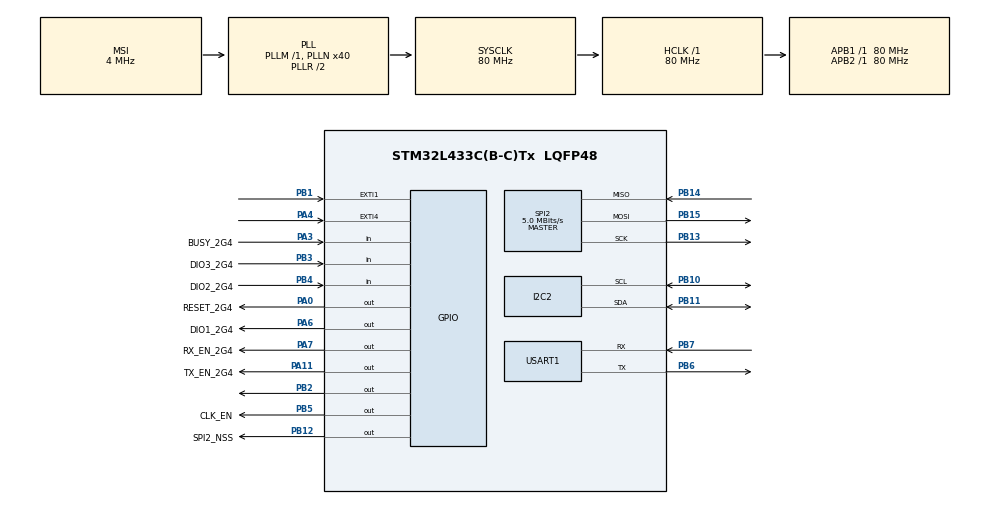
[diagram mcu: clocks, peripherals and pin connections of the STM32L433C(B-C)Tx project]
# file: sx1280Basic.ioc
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Dma.Request0=USART1_RX
Dma.Request1=USART1_TX
Dma.USART1_RX.0.Direction=DMA_PERIPH_TO_MEMORY
Dma.USART1_RX.0.Instance=DMA1_Channel5
Dma.USART1_RX.0.MemDataAlignment=DMA_MDATAALIGN_BYTE
Dma.USART1_RX.0.MemInc=DMA_MINC_ENABLE
Dma.USART1_RX.0.Mode=DMA_NORMAL
Dma.USART1_RX.0.PeriphDataAlignment=DMA_PDATAALIGN_BYTE
Dma.USART1_RX.0.PeriphInc=DMA_PINC_DISABLE
Dma.USART1_RX.0.Priority=DMA_PRIORITY_LOW
Dma.USART1_TX.1.Direction=DMA_MEMORY_TO_PERIPH
Dma.USART1_TX.1.Instance=DMA1_Channel4
Dma.USART1_TX.1.MemDataAlignment=DMA_MDATAALIGN_BYTE
Dma.USART1_TX.1.MemInc=DMA_MINC_ENABLE
Dma.USART1_TX.1.Mode=DMA_NORMAL
Dma.USART1_TX.1.PeriphDataAlignment=DMA_PDATAALIGN_BYTE
Dma.USART1_TX.1.PeriphInc=DMA_PINC_DISABLE
Dma.USART1_TX.1.Priority=DMA_PRIORITY_LOW
FREERTOS.Tasks01=defaultTask,0,128,StartDefaultTask,Default,NULL,Dynamic,NULL,NULL;qma6981,0,256,qma6981_task,Default,NULL,Dynamic,NULL,NULL
Mcu.Family=STM32L4
Mcu.Name=STM32L433C(B-C)Tx
Mcu.Package=LQFP48
NVIC.DMA1_Channel4_IRQn=true\:5\:0\:false\:false\:true\:true\:false\:true
NVIC.DMA1_Channel5_IRQn=true\:5\:0\:false\:false\:true\:true\:false\:true
NVIC.EXTI1_IRQn=true\:5\:0\:false\:false\:true\:true\:true\:true
NVIC.EXTI4_IRQn=true\:5\:0\:false\:false\:true\:true\:true\:true
NVIC.PriorityGroup=NVIC_PRIORITYGROUP_4
NVIC.USART1_IRQn=true\:5\:0\:false\:false\:true\:true\:true\:true
PA0.GPIO_Label=RESET_2G4
PA0.Signal=GPIO_Output
PA11.GPIO_Label=TX_EN_2G4
PA11.Signal=GPIO_Output
PA13\ (JTMS-SWDIO).Mode=Serial_Wire
PA13\ (JTMS-SWDIO).Signal=SYS_JTMS-SWDIO
PA14\ (JTCK-SWCLK).Mode=Serial_Wire
PA14\ (JTCK-SWCLK).Signal=SYS_JTCK-SWCLK
PA3.GPIO_Label=BUSY_2G4
PA3.Signal=GPIO_Input
PA4.GPIO_ModeDefaultEXTI=GPIO_MODE_IT_FALLING
PA4.Signal=GPXTI4
PA6.GPIO_Label=DIO1_2G4
PA6.Signal=GPIO_Output
PA7.GPIO_Label=RX_EN_2G4
PA7.Signal=GPIO_Output
PB1.Signal=GPXTI1
PB10.Mode=I2C
PB10.Signal=I2C2_SCL
PB11.Mode=I2C
PB11.Signal=I2C2_SDA
PB12.GPIO_Label=SPI2_NSS
PB12.Signal=GPIO_Output
PB13.Mode=Full_Duplex_Master
PB13.Signal=SPI2_SCK
PB14.Mode=Full_Duplex_Master
PB14.Signal=SPI2_MISO
PB15.Mode=Full_Duplex_Master
PB15.Signal=SPI2_MOSI
PB2.GPIO_PuPd=GPIO_PULLUP
PB2.Signal=GPIO_Output
PB3\ (JTDO-TRACESWO).GPIO_Label=DIO3_2G4
PB3\ (JTDO-TRACESWO).Signal=GPIO_Input
PB4\ (NJTRST).GPIO_Label=DIO2_2G4
PB4\ (NJTRST).Signal=GPIO_Input
PB5.GPIO_Label=CLK_EN
PB5.Signal=GPIO_Output
PB6.Mode=Asynchronous
PB6.Signal=USART1_TX
PB7.Mode=Asynchronous
PB7.Signal=USART1_RX
PC14-OSC32_IN\ (PC14).Mode=LSE-External-Oscillator
PC14-OSC32_IN\ (PC14).Signal=RCC_OSC32_IN
PC15-OSC32_OUT\ (PC15).Mode=LSE-External-Oscillator
PC15-OSC32_OUT\ (PC15).Signal=RCC_OSC32_OUT
ProjectManager.HeapSize=0x200
ProjectManager.StackSize=0x400
ProjectManager.TargetToolchain=Makefile
RCC.AHBFreq_Value=80000000
RCC.APB1Freq_Value=80000000
RCC.APB1TimFreq_Value=80000000
RCC.APB2Freq_Value=80000000
RCC.APB2TimFreq_Value=80000000
RCC.CortexFreq_Value=80000000
RCC.HCLKFreq_Value=80000000
RCC.HSE_VALUE=8000000
RCC.HSI48_VALUE=48000000
RCC.HSI_VALUE=16000000
RCC.MSI_VALUE=4000000
RCC.PLLN=40
RCC.SYSCLKFreq_VALUE=80000000
RCC.SYSCLKSource=RCC_SYSCLKSOURCE_PLLCLK
RCC.VCOOutputFreq_Value=160000000
SPI2.BaudRatePrescaler=SPI_BAUDRATEPRESCALER_16
SPI2.CalculateBaudRate=5.0 MBits/s
SPI2.DataSize=SPI_DATASIZE_8BIT
SPI2.Direction=SPI_DIRECTION_2LINES
SPI2.Mode=SPI_MODE_MASTER
SPI2.VirtualType=VM_MASTER
USART1.VirtualMode-Asynchronous=VM_ASYNC
VP_FREERTOS_VS_CMSIS_V1.Mode=CMSIS_V1
board=custom

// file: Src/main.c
/* USER CODE BEGIN Header */
/**
  ******************************************************************************
  * @file           : main.c
  * @brief          : Main program body
  ******************************************************************************
  * @attention
  *
  * <h2><center>&copy; Copyright (c) 2020 STMicroelectronics.
  * All rights reserved.</center></h2>
  *
  * This software component is licensed by ST under Ultimate Liberty license
  * SLA0044, the "License"; You may not use this file except in compliance with
  * the License. You may obtain a copy of the License at:
  *                             www.st.com/SLA0044
  *
  ******************************************************************************
  */
/* USER CODE END Header */

#include "main.h"
#include "cmsis_os.h"
#include "dma.h"
#include "i2c.h"
#include "spi.h"
#include "usart.h"
#include "gpio.h"

/* USER CODE BEGIN Includes */
#include "bsp_uart.h"
#include "string.h"
#include "stdio.h"
/* USER CODE END Includes */

/* USER CODE BEGIN PTD */
extern SemaphoreHandle_t  xLoraRecSemaphore;
/* USER CODE END PTD */

void SystemClock_Config(void);
void MX_FREERTOS_Init(void);

int main(void)
{

  /* MCU Configuration--------------------------------------------------------*/

  /* Reset of all peripherals, Initializes the Flash interface and the Systick. */
  HAL_Init();

  /* Configure the system clock */
  SystemClock_Config();

  /* USER CODE BEGIN SysInit */
  xLoraRecSemaphore = xSemaphoreCreateBinary();
    uart_queue_init();
  /* USER CODE END SysInit */

  /* Initialize all configured peripherals */
  MX_GPIO_Init();
  MX_DMA_Init();
  MX_USART1_UART_Init();
  MX_I2C2_Init();
  MX_SPI2_Init();
  /* USER CODE BEGIN 2 */
    uart_init();
  /* USER CODE END 2 */

  /* Call init function for freertos objects (in freertos.c) */
  MX_FREERTOS_Init();

  /* Start scheduler */
  osKernelStart();

  /* We should never get here as control is now taken by the scheduler */

  /* Infinite loop */
  while (1)
  {

  }
}

void SystemClock_Config(void)
{
  RCC_OscInitTypeDef RCC_OscInitStruct = {0};
  RCC_ClkInitTypeDef RCC_ClkInitStruct = {0};
  RCC_PeriphCLKInitTypeDef PeriphClkInit = {0};

  /** Configure LSE Drive Capability
  */
  HAL_PWR_EnableBkUpAccess();
  __HAL_RCC_LSEDRIVE_CONFIG(RCC_LSEDRIVE_LOW);
  /** Initializes the CPU, AHB and APB busses clocks
  */
  RCC_OscInitStruct.OscillatorType = RCC_OSCILLATORTYPE_LSE|RCC_OSCILLATORTYPE_MSI;
  RCC_OscInitStruct.LSEState = RCC_LSE_ON;
  RCC_OscInitStruct.MSIState = RCC_MSI_ON;
  RCC_OscInitStruct.MSICalibrationValue = 0;
  RCC_OscInitStruct.MSIClockRange = RCC_MSIRANGE_6;
  RCC_OscInitStruct.PLL.PLLState = RCC_PLL_ON;
  RCC_OscInitStruct.PLL.PLLSource = RCC_PLLSOURCE_MSI;
  RCC_OscInitStruct.PLL.PLLM = 1;
  RCC_OscInitStruct.PLL.PLLN = 40;
  RCC_OscInitStruct.PLL.PLLP = RCC_PLLP_DIV7;
  RCC_OscInitStruct.PLL.PLLQ = RCC_PLLQ_DIV2;
  RCC_OscInitStruct.PLL.PLLR = RCC_PLLR_DIV2;
  if (HAL_RCC_OscConfig(&RCC_OscInitStruct) != HAL_OK)
  {
    Error_Handler();
  }
  /** Initializes the CPU, AHB and APB busses clocks
  */
  RCC_ClkInitStruct.ClockType = RCC_CLOCKTYPE_HCLK|RCC_CLOCKTYPE_SYSCLK
                              |RCC_CLOCKTYPE_PCLK1|RCC_CLOCKTYPE_PCLK2;
  RCC_ClkInitStruct.SYSCLKSource = RCC_SYSCLKSOURCE_PLLCLK;
  RCC_ClkInitStruct.AHBCLKDivider = RCC_SYSCLK_DIV1;
  RCC_ClkInitStruct.APB1CLKDivider = RCC_HCLK_DIV1;
  RCC_ClkInitStruct.APB2CLKDivider = RCC_HCLK_DIV1;

  if (HAL_RCC_ClockConfig(&RCC_ClkInitStruct, FLASH_LATENCY_4) != HAL_OK)
  {
    Error_Handler();
  }
  PeriphClkInit.PeriphClockSelection = RCC_PERIPHCLK_USART1|RCC_PERIPHCLK_I2C2;
  PeriphClkInit.Usart1ClockSelection = RCC_USART1CLKSOURCE_PCLK2;
  PeriphClkInit.I2c2ClockSelection = RCC_I2C2CLKSOURCE_PCLK1;
  if (HAL_RCCEx_PeriphCLKConfig(&PeriphClkInit) != HAL_OK)
  {
    Error_Handler();
  }
  /** Configure the main internal regulator output voltage
  */
  if (HAL_PWREx_ControlVoltageScaling(PWR_REGULATOR_VOLTAGE_SCALE1) != HAL_OK)
  {
    Error_Handler();
  }
  /** Enable MSI Auto calibration
  */
  HAL_RCCEx_EnableMSIPLLMode();
}

void Error_Handler(void)
{
}

/************************ (C) COPYRIGHT STMicroelectronics *****END OF FILE****/

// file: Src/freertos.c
/* USER CODE BEGIN Header */
/**
  ******************************************************************************
  * File Name          : freertos.c
  * Description        : Code for freertos applications
  ******************************************************************************
  * @attention
  *
  * <h2><center>&copy; Copyright (c) 2020 STMicroelectronics.
  * All rights reserved.</center></h2>
  *
  * This software component is licensed by ST under Ultimate Liberty license
  * SLA0044, the "License"; You may not use this file except in compliance with
  * the License. You may obtain a copy of the License at:
  *                             www.st.com/SLA0044
  *
  ******************************************************************************
  */
/* USER CODE END Header */

#include "FreeRTOS.h"
#include "task.h"
#include "main.h"
#include "cmsis_os.h"

/* USER CODE BEGIN Includes */
#include "bsp_uart.h"
#include "usart.h"
#include "QMA6981.h"
#include "stdio.h"
#include "string.h"
#include "2G4.h"
#include "at_cmd.h"
/* USER CODE END Includes */

/* USER CODE BEGIN PTD */
SemaphoreHandle_t  xLoraRecSemaphore;
#define LORAMODE 0
/* USER CODE END PTD */

/* USER CODE BEGIN PM */
	  extern uint16_t tmp_cnt;

/* USER CODE END PM */

osThreadId defaultTaskHandle;
osThreadId qma6981Handle;

void StartDefaultTask(void const * argument);
void qma6981_task(void const * argument);

void MX_FREERTOS_Init(void); /* (MISRA C 2004 rule 8.1) */

/* GetIdleTaskMemory prototype (linked to static allocation support) */
void vApplicationGetIdleTaskMemory( StaticTask_t **ppxIdleTaskTCBBuffer, StackType_t **ppxIdleTaskStackBuffer, uint32_t *pulIdleTaskStackSize );

/* USER CODE BEGIN GET_IDLE_TASK_MEMORY */
static StaticTask_t xIdleTaskTCBBuffer;
static StackType_t xIdleStack[configMINIMAL_STACK_SIZE];

void vApplicationGetIdleTaskMemory( StaticTask_t **ppxIdleTaskTCBBuffer, StackType_t **ppxIdleTaskStackBuffer, uint32_t *pulIdleTaskStackSize )
{
  *ppxIdleTaskTCBBuffer = &xIdleTaskTCBBuffer;
  *ppxIdleTaskStackBuffer = &xIdleStack[0];
  *pulIdleTaskStackSize = configMINIMAL_STACK_SIZE;
  /* place for user code */
}
/* USER CODE END GET_IDLE_TASK_MEMORY */

void MX_FREERTOS_Init(void) {

  /* Create the thread(s) */
  /* definition and creation of defaultTask */
  osThreadDef(defaultTask, StartDefaultTask, osPriorityNormal, 0, 128);
  defaultTaskHandle = osThreadCreate(osThread(defaultTask), NULL);

  /* definition and creation of qma6981 */
  osThreadDef(qma6981, qma6981_task, osPriorityNormal, 0, 256);
  qma6981Handle = osThreadCreate(osThread(qma6981), NULL);

}

void StartDefaultTask(void const * argument)
{
  /* USER CODE BEGIN StartDefaultTask */
  //USART_RECEIVETYPE *ucQueueMsgValue;
  /* Infinite loop */
    #if (LORAMODE == 1)
    uint8_t RxData[20];
    uint8_t RxSize = 0;
    uint8_t rssi;
    uint8_t i;
    #else
    uint8_t TxData[20];
    #endif
    uint8_t count=0;
    LORA2G4SetParams();
    printf("System init\r\n");
    printf("APP for LORA\r\n");
    LORA2G4Init();
    #if (LORAMODE == 1)
    {
        LORA2G4SetRx();
        printf("Role for Rx\r\n");
    }
    #else
    {
        printf("Role for Tx\r\n");
    }
    #endif
    for(;;)
    {
        #if (LORAMODE == 1)
        {
            //if (HAL_GPIO_ReadPin(DIO1_2G4_GPIO_Port, DIO1_2G4_Pin) == 1)
            xSemaphoreTake(xLoraRecSemaphore, (TickType_t)portMAX_DELAY);
              {
                  osDelay(10);
                  SX1280GetPayload(RxData, &RxSize, LORA2G4_BUFFER_SIZE);
                  SX1280ClearIrqStatus(SX1280_IRQ_RADIO_ALL);

                  rssi = SX1280GetRssiInst();

                  printf("Received msg: ");
                  for(i=0;i<RxSize;i++)
                  {
                      printf("%c",RxData[i]);
                  }
                // while(HAL_UART_Transmit_IT(&huart1, RxData, RxSize) == HAL_BUSY);
                //   while(HAL_UART_Transmit_IT(&huart1, "\r\n", 2) == HAL_BUSY);
                  printf("count=%d Rssi: %d\r\n", count++,(int8_t)rssi);

                  LORA2G4SetRx();
              }
        }
        #else
        {
            memset(TxData,0,sizeof(TxData));
            sprintf(TxData,"hello%d\r\n",count++);
            LORA2G4SendData(TxData, strlen(TxData));
            printf("%s",TxData);
            HAL_Delay(1000);
        }
        #endif

        // xQueueReceive(xRS232SendQueue3,(USART_RECEIVETYPE *)&ucQueueMsgValue,(TickType_t)portMAX_DELAY); //portMAX_DELAY
        // if(ucQueueMsgValue->rx_len==1)
        //     HAL_UART_Receive_DMA(&huart1,ucQueueMsgValue->usartDMA_rxBuf,RECEIVELEN);
        // ucQueueMsgValue->usartDMA_rxBuf[ucQueueMsgValue->rx_len]=0;
        //HAL_UART_Transmit_DMA(&huart1,(uint8_t *)ucQueueMsgValue->usartDMA_rxBuf,ucQueueMsgValue->rx_len);//获取gps信息
        //HAL_UART_Transmit_DMA(&huart1,(uint8_t *)&ucQueueMsgValue->receive_flag,1);//获取gps信息
        //printf("%d-%s",ucQueueMsgValue->receive_flag,ucQueueMsgValue->usartDMA_rxBuf);
        //ucQueueMsgValue->receive_flag=0;
        // lorawan_at_process();
        //osDelay(1000);
    }
  /* USER CODE END StartDefaultTask */
}

void qma6981_task(void const * argument)
{
  /* USER CODE BEGIN qma6981_task */
  /* Infinite loop */
  char temp_data[64]={0};
  uint16_t a,b;
  float tmp_vaule;
  //QMA6981Init();
  bma2x2_config();
  osDelay(10);
  for(;;)
  {
    osDelay(1000);
    memset(temp_data,0,sizeof(temp_data));
    HAL_GPIO_WritePin(GPIOB,GPIO_PIN_2,GPIO_PIN_SET);
    tmp_cnt=0;
    osDelay(50);
    HAL_GPIO_WritePin(GPIOB,GPIO_PIN_2,GPIO_PIN_RESET);
    tmp_vaule=(float)tmp_cnt*0.0625-50.0625;
    a=(uint16_t)tmp_vaule*1000;
    b=tmp_vaule*1000-a;
    sprintf(temp_data,"%d-%d.%d\r\n",tmp_cnt,(uint16_t)tmp_vaule,b);
    printf("%s",temp_data);
   //printf("%.3f\r\n",tmp_vaule);
  }
  /* USER CODE END qma6981_task */
}

/************************ (C) COPYRIGHT STMicroelectronics *****END OF FILE****/
